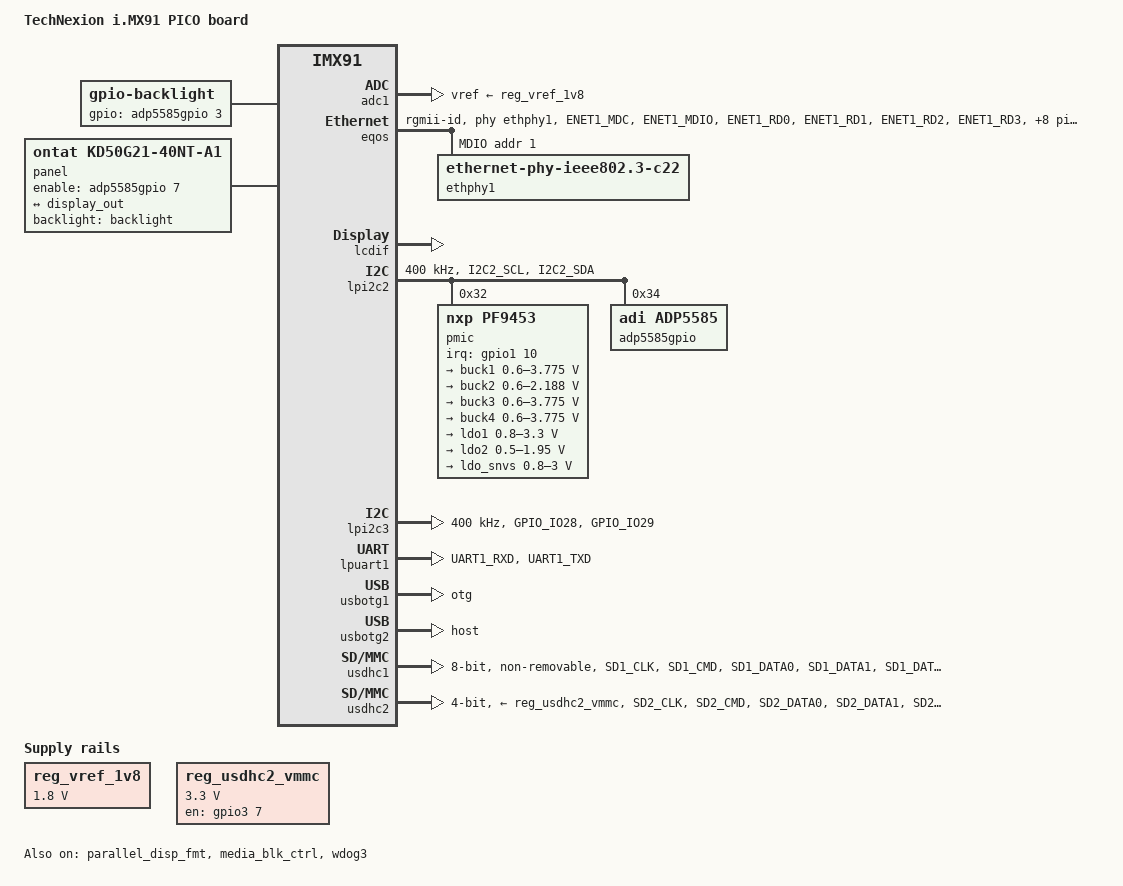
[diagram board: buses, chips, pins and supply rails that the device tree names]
// SPDX-License-Identifier: (GPL-2.0+ OR MIT)
/*
 * Copyright 2024 NXP
 */

/dts-v1/;

#include <dt-bindings/usb/pd.h>
#include "imx91.dtsi"
#include "imx91-u-boot.dtsi"

/ {
	model = "TechNexion i.MX91 PICO board";
	compatible = "fsl,imx91-pico", "fsl,imx91";

	chosen {
		stdout-path = &lpuart1;
	};

	reserved-memory {
		#address-cells = <2>;
		#size-cells = <2>;
		ranges;

		linux,cma {
			compatible = "shared-dma-pool";
			reusable;
			alloc-ranges = <0 0x80000000 0 0x40000000>;
			size = <0 0x10000000>;
			linux,cma-default;
		};
	};

	reg_vref_1v8: regulator-adc-vref {
		compatible = "regulator-fixed";
		regulator-name = "vref_1v8";
		regulator-min-microvolt = <1800000>;
		regulator-max-microvolt = <1800000>;
	};

	reg_usdhc2_vmmc: regulator-usdhc2 {
		compatible = "regulator-fixed";
		pinctrl-names = "default";
		pinctrl-0 = <&pinctrl_reg_usdhc2_vmmc>;
		regulator-name = "VSD_3V3";
		regulator-min-microvolt = <3300000>;
		regulator-max-microvolt = <3300000>;
		gpio = <&gpio3 7 GPIO_ACTIVE_HIGH>;
		off-on-delay-us = <12000>;
		enable-active-high;
	};

	backlight: backlight {
		compatible = "gpio-backlight";
		gpios = <&adp5585gpio 3 GPIO_ACTIVE_HIGH>;
	};

	panel {
		compatible = "ontat,kd50g21-40nt-a1", "simple-panel";
		backlight = <&backlight>;
		enable-gpios = <&adp5585gpio 7 GPIO_ACTIVE_HIGH>;


		port {
			panel_in: endpoint {
				remote-endpoint = <&display_out>;
			};
		};

		display-timings {
			native-mode = <&timing0>;
			timing0: timing0 {
				clock-frequency = <33333333>;
				hactive = <800>;
				vactive = <480>;
				hfront-porch = <210>;
				hback-porch = <46>;
				hsync-len = <20>;
				vback-porch = <22>;
				vfront-porch = <23>;
				vsync-len = <10>;

				vsync-active = <0>;
				hsync-active = <0>;
			};
		};
	};
};

&adc1 {
	vref-supply = <&reg_vref_1v8>;
	status = "okay";
};

&eqos {
	pinctrl-names = "default";
	pinctrl-0 = <&pinctrl_eqos>;
	phy-mode = "rgmii-id";
	phy-handle = <&ethphy1>;
	status = "okay";

	mdio {
		compatible = "snps,dwmac-mdio";
		#address-cells = <1>;
		#size-cells = <0>;
		clock-frequency = <5000000>;

		ethphy1: ethernet-phy@1 {
			compatible = "ethernet-phy-ieee802.3-c22";
			reg = <1>;
			eee-broken-1000t;
		};
	};
};

&lcdif {
	status = "okay";
	assigned-clock-rates = <150000000>, <30000000>, <400000000>, <133333333>;
};

&parallel_disp_fmt {
	pinctrl-names = "default";
	pinctrl-0 = <&pinctrl_lcdif>;
    pinctrl-1 = <&pinctrl_lcdif_gpio>;
	fsl,interface-pix-fmt = "rgb888";
	status = "okay";

	ports {
		port@1 {
			reg = <1>;

			display_out: endpoint {
				remote-endpoint = <&panel_in>;
			};
		};
	};
};

&lpi2c2 {
	#address-cells = <1>;
	#size-cells = <0>;
	clock-frequency = <400000>;
	pinctrl-names = "default", "sleep";
	pinctrl-0 = <&pinctrl_lpi2c2>;
	pinctrl-1 = <&pinctrl_lpi2c2>;
	status = "okay";

	pmic@32 {
		compatible = "nxp,pf9453";
		reg = <0x32>;
		pinctrl-names = "default";
		pinctrl-0 = <&pinctrl_pmic_irq>;
		interrupt-parent = <&gpio1>;
		interrupts = <10 IRQ_TYPE_LEVEL_LOW>;

		regulators {
			buck1: BUCK1 {
				regulator-name = "BUCK1";
				regulator-min-microvolt = <600000>;
				regulator-max-microvolt = <3775000>;
				regulator-boot-on;
				regulator-always-on;
			};

			buck2: BUCK2 {
				regulator-name = "BUCK2";
				regulator-min-microvolt = <600000>;
				regulator-max-microvolt = <2187500>;
				regulator-boot-on;
				regulator-always-on;
				regulator-ramp-delay = <3125>;
			};

			buck3: BUCK3 {
				regulator-name = "BUCK3";
				regulator-min-microvolt = <600000>;
				regulator-max-microvolt = <3775000>;
				regulator-boot-on;
				regulator-always-on;
			};

			buck4: BUCK4 {
				regulator-name = "BUCK4";
				regulator-min-microvolt = <600000>;
				regulator-max-microvolt = <3775000>;
				regulator-boot-on;
				regulator-always-on;
			};

			ldo1: LDO1 {
				regulator-name = "LDO1";
				regulator-min-microvolt = <800000>;
				regulator-max-microvolt = <3300000>;
				regulator-boot-on;
				regulator-always-on;
			};

			ldo2: LDO2 {
				regulator-name = "LDO2";
				regulator-min-microvolt = <500000>;
				regulator-max-microvolt = <1950000>;
				regulator-boot-on;
				regulator-always-on;
			};

			ldo_snvs: LDO_SNVS {
				regulator-name = "LDO_SNVS";
				regulator-min-microvolt = <800000>;
				regulator-max-microvolt = <3000000>;
				regulator-boot-on;
				regulator-always-on;
			};
		};
	};

    adp5585gpio: gpio@34 {
		compatible = "adi,adp5585";
		reg = <0x34>;
		gpio-controller;
		#gpio-cells = <2>;

		wl_reg_on {
			gpio = <&adp5585gpio 5 0>;
		};

		bt_reg_on {
			gpio = <&adp5585gpio 6 0>;
		};
	};
};

&lpi2c3 {
	#address-cells = <1>;
	#size-cells = <0>;
	clock-frequency = <400000>;
	pinctrl-names = "default", "sleep";
	pinctrl-0 = <&pinctrl_lpi2c3>;
	pinctrl-1 = <&pinctrl_lpi2c3>;
	status = "okay";
};

&lpuart1 { /* console */
	pinctrl-names = "default";
	pinctrl-0 = <&pinctrl_uart1>;
	status = "okay";
};

&media_blk_ctrl {
	status = "okay";
};

&usbotg1 {
	dr_mode = "otg";
	hnp-disable;
	srp-disable;
	adp-disable;
	usb-role-switch;
	status = "okay";
};

&usbotg2 {
	dr_mode = "host";
	status = "okay";
};

&usdhc1 {
	pinctrl-names = "default", "state_100mhz", "state_200mhz";
	pinctrl-0 = <&pinctrl_usdhc1>;
	pinctrl-1 = <&pinctrl_usdhc1_100mhz>;
	pinctrl-2 = <&pinctrl_usdhc1_200mhz>;
	bus-width = <8>;
	non-removable;
	status = "okay";
};

&usdhc2 {
	pinctrl-names = "default", "state_100mhz", "state_200mhz";
	pinctrl-0 = <&pinctrl_usdhc2>, <&pinctrl_usdhc2_gpio>;
	pinctrl-1 = <&pinctrl_usdhc2_100mhz>, <&pinctrl_usdhc2_gpio>;
	pinctrl-2 = <&pinctrl_usdhc2_200mhz>, <&pinctrl_usdhc2_gpio>;
	cd-gpios = <&gpio3 00 GPIO_ACTIVE_LOW>;
	vmmc-supply = <&reg_usdhc2_vmmc>;
	bus-width = <4>;
	status = "okay";
	no-sdio;
	no-mmc;
};

&usdhc3 {
	status = "disabled";
};

&wdog3 {
	status = "okay";
};

&iomuxc {
    pinctrl_eqos: eqosgrp {
		fsl,pins = <
			MX91_PAD_ENET1_MDC__ENET1_MDC				0x57e
			MX91_PAD_ENET1_MDIO__ENET_QOS_MDIO			0x57e
			MX91_PAD_ENET1_RD0__ENET_QOS_RGMII_RD0			0x57e
			MX91_PAD_ENET1_RD1__ENET_QOS_RGMII_RD1			0x57e
			MX91_PAD_ENET1_RD2__ENET_QOS_RGMII_RD2			0x57e
			MX91_PAD_ENET1_RD3__ENET_QOS_RGMII_RD3			0x57e
			MX91_PAD_ENET1_RXC__ENET_QOS_RGMII_RXC			0x5fe
			MX91_PAD_ENET1_RX_CTL__ENET_QOS_RGMII_RX_CTL		0x57e
			MX91_PAD_ENET1_TD0__ENET_QOS_RGMII_TD0			0x57e
			MX91_PAD_ENET1_TD1__ENET1_RGMII_TD1			0x57e
			MX91_PAD_ENET1_TD2__ENET_QOS_RGMII_TD2			0x57e
			MX91_PAD_ENET1_TD3__ENET_QOS_RGMII_TD3			0x57e
			MX91_PAD_ENET1_TXC__CCM_ENET_QOS_CLOCK_GENERATE_TX_CLK	0x5fe
			MX91_PAD_ENET1_TX_CTL__ENET_QOS_RGMII_TX_CTL		0x57e
		>;
	};

    pinctrl_lcdif: lcdifgrp {
		fsl,pins = <
			MX91_PAD_GPIO_IO00__MEDIAMIX_DISP_CLK		0x31e
			MX91_PAD_GPIO_IO01__MEDIAMIX_DISP_DE		0x31e
			MX91_PAD_GPIO_IO02__MEDIAMIX_DISP_VSYNC		0x31e
			MX91_PAD_GPIO_IO03__MEDIAMIX_DISP_HSYNC		0x31e
			MX91_PAD_GPIO_IO04__MEDIAMIX_DISP_DATA0		0x31e
			MX91_PAD_GPIO_IO05__MEDIAMIX_DISP_DATA1		0x31e
			MX91_PAD_GPIO_IO06__MEDIAMIX_DISP_DATA2		0x31e
			MX91_PAD_GPIO_IO07__MEDIAMIX_DISP_DATA3		0x31e
			MX91_PAD_GPIO_IO08__MEDIAMIX_DISP_DATA4		0x31e
			MX91_PAD_GPIO_IO09__MEDIAMIX_DISP_DATA5		0x31e
			MX91_PAD_GPIO_IO10__MEDIAMIX_DISP_DATA6		0x31e
			MX91_PAD_GPIO_IO11__MEDIAMIX_DISP_DATA7		0x31e
			MX91_PAD_GPIO_IO12__MEDIAMIX_DISP_DATA8		0x31e
			MX91_PAD_GPIO_IO13__MEDIAMIX_DISP_DATA9		0x31e
			MX91_PAD_GPIO_IO14__MEDIAMIX_DISP_DATA10	0x31e
			MX91_PAD_GPIO_IO15__MEDIAMIX_DISP_DATA11	0x31e
			MX91_PAD_GPIO_IO16__MEDIAMIX_DISP_DATA12	0x31e
			MX91_PAD_GPIO_IO17__MEDIAMIX_DISP_DATA13	0x31e
			MX91_PAD_GPIO_IO18__MEDIAMIX_DISP_DATA14	0x31e
			MX91_PAD_GPIO_IO19__MEDIAMIX_DISP_DATA15	0x31e
			MX91_PAD_GPIO_IO20__MEDIAMIX_DISP_DATA16	0x31e
			MX91_PAD_GPIO_IO21__MEDIAMIX_DISP_DATA17	0x31e
			MX91_PAD_GPIO_IO22__MEDIAMIX_DISP_DATA18	0x31e
			MX91_PAD_GPIO_IO23__MEDIAMIX_DISP_DATA19	0x31e
			MX91_PAD_GPIO_IO24__MEDIAMIX_DISP_DATA20	0x31e
			MX91_PAD_GPIO_IO25__MEDIAMIX_DISP_DATA21	0x31e
			MX91_PAD_GPIO_IO26__MEDIAMIX_DISP_DATA22	0x31e
			MX91_PAD_GPIO_IO27__MEDIAMIX_DISP_DATA23	0x31e
		>;
	};

	pinctrl_lcdif_gpio: lcdifgpiogrp {
		fsl,pins = <
			MX91_PAD_GPIO_IO00__GPIO2_IO0			0x31e
			MX91_PAD_GPIO_IO01__GPIO2_IO1			0x31e
			MX91_PAD_GPIO_IO02__GPIO2_IO2			0x31e
			MX91_PAD_GPIO_IO03__GPIO2_IO3			0x31e
		>;
	};

    pinctrl_lpi2c2: lpi2c2grp {
		fsl,pins = <
			MX91_PAD_I2C2_SCL__LPI2C2_SCL			0x40000b9e
			MX91_PAD_I2C2_SDA__LPI2C2_SDA			0x40000b9e
		>;
	};

	pinctrl_lpi2c3: lpi2c3grp {
		fsl,pins = <
			MX91_PAD_GPIO_IO28__LPI2C3_SDA			0x40000b9e
			MX91_PAD_GPIO_IO29__LPI2C3_SCL			0x40000b9e
		>;
	};

    pinctrl_pmic_irq: pmicirqgrp {
		fsl,pins = <
			MX91_PAD_PDM_BIT_STREAM1__GPIO1_IO10	0x31e
		>;
	};

    pinctrl_uart1: uart1grp {
		fsl,pins = <
			MX91_PAD_UART1_RXD__LPUART1_RX			0x31e
			MX91_PAD_UART1_TXD__LPUART1_TX			0x31e
		>;
	};

    pinctrl_usdhc1: usdhc1grp {
		fsl,pins = <
			MX91_PAD_SD1_CLK__USDHC1_CLK		0x1582
			MX91_PAD_SD1_CMD__USDHC1_CMD		0x40001382
			MX91_PAD_SD1_DATA0__USDHC1_DATA0	0x40001382
			MX91_PAD_SD1_DATA1__USDHC1_DATA1	0x40001382
			MX91_PAD_SD1_DATA2__USDHC1_DATA2	0x40001382
			MX91_PAD_SD1_DATA3__USDHC1_DATA3	0x40001382
			MX91_PAD_SD1_DATA4__USDHC1_DATA4	0x40001382
			MX91_PAD_SD1_DATA5__USDHC1_DATA5	0x40001382
			MX91_PAD_SD1_DATA6__USDHC1_DATA6	0x40001382
			MX91_PAD_SD1_DATA7__USDHC1_DATA7	0x40001382
			MX91_PAD_SD1_STROBE__USDHC1_STROBE	0x1582
		>;
	};

    pinctrl_usdhc1_100mhz: usdhc1-100mhzgrp {
		fsl,pins = <
			MX91_PAD_SD1_CLK__USDHC1_CLK		0x158e
			MX91_PAD_SD1_CMD__USDHC1_CMD		0x4000138e
			MX91_PAD_SD1_DATA0__USDHC1_DATA0	0x4000138e
			MX91_PAD_SD1_DATA1__USDHC1_DATA1	0x4000138e
			MX91_PAD_SD1_DATA2__USDHC1_DATA2	0x4000138e
			MX91_PAD_SD1_DATA3__USDHC1_DATA3	0x4000138e
			MX91_PAD_SD1_DATA4__USDHC1_DATA4	0x4000138e
			MX91_PAD_SD1_DATA5__USDHC1_DATA5	0x4000138e
			MX91_PAD_SD1_DATA6__USDHC1_DATA6	0x4000138e
			MX91_PAD_SD1_DATA7__USDHC1_DATA7	0x4000138e
			MX91_PAD_SD1_STROBE__USDHC1_STROBE	0x158e
		>;
	};

    pinctrl_usdhc1_200mhz: usdhc1-200mhzgrp {
		fsl,pins = <
			MX91_PAD_SD1_CLK__USDHC1_CLK		0x15fe
			MX91_PAD_SD1_CMD__USDHC1_CMD		0x400013fe
			MX91_PAD_SD1_DATA0__USDHC1_DATA0	0x400013fe
			MX91_PAD_SD1_DATA1__USDHC1_DATA1	0x400013fe
			MX91_PAD_SD1_DATA2__USDHC1_DATA2	0x400013fe
			MX91_PAD_SD1_DATA3__USDHC1_DATA3	0x400013fe
			MX91_PAD_SD1_DATA4__USDHC1_DATA4	0x400013fe
			MX91_PAD_SD1_DATA5__USDHC1_DATA5	0x400013fe
			MX91_PAD_SD1_DATA6__USDHC1_DATA6	0x400013fe
			MX91_PAD_SD1_DATA7__USDHC1_DATA7	0x400013fe
			MX91_PAD_SD1_STROBE__USDHC1_STROBE	0x15fe
		>;
	};

	pinctrl_reg_usdhc2_vmmc: regusdhc2vmmcgrp {
		fsl,pins = <
			MX91_PAD_SD2_RESET_B__GPIO3_IO7		0x31e
		>;
	};

	pinctrl_usdhc2_gpio: usdhc2gpiogrp {
		fsl,pins = <
			MX91_PAD_SD2_CD_B__GPIO3_IO0		0x31e
		>;
	};

	pinctrl_usdhc2_gpio_sleep: usdhc2gpiogrpsleep {
		fsl,pins = <
			MX91_PAD_SD2_CD_B__GPIO3_IO0		0x51e
		>;
	};

	/* need to config the SION for data and cmd pad, refer to ERR052021 */
	pinctrl_usdhc2: usdhc2grp {
		fsl,pins = <
			MX91_PAD_SD2_CLK__USDHC2_CLK		0x1582
			MX91_PAD_SD2_CMD__USDHC2_CMD		0x40001382
			MX91_PAD_SD2_DATA0__USDHC2_DATA0	0x40001382
			MX91_PAD_SD2_DATA1__USDHC2_DATA1	0x40001382
			MX91_PAD_SD2_DATA2__USDHC2_DATA2	0x40001382
			MX91_PAD_SD2_DATA3__USDHC2_DATA3	0x40001382
			MX91_PAD_SD2_VSELECT__USDHC2_VSELECT	0x51e
		>;
	};

	/* need to config the SION for data and cmd pad, refer to ERR052021 */
	pinctrl_usdhc2_100mhz: usdhc2-100mhzgrp {
		fsl,pins = <
			MX91_PAD_SD2_CLK__USDHC2_CLK		0x158e
			MX91_PAD_SD2_CMD__USDHC2_CMD		0x4000138e
			MX91_PAD_SD2_DATA0__USDHC2_DATA0	0x4000138e
			MX91_PAD_SD2_DATA1__USDHC2_DATA1	0x4000138e
			MX91_PAD_SD2_DATA2__USDHC2_DATA2	0x4000138e
			MX91_PAD_SD2_DATA3__USDHC2_DATA3	0x4000138e
			MX91_PAD_SD2_VSELECT__USDHC2_VSELECT	0x51e
		>;
	};

	/* need to config the SION for data and cmd pad, refer to ERR052021 */
	pinctrl_usdhc2_200mhz: usdhc2-200mhzgrp {
		fsl,pins = <
			MX91_PAD_SD2_CLK__USDHC2_CLK		0x15fe
			MX91_PAD_SD2_CMD__USDHC2_CMD		0x400013fe
			MX91_PAD_SD2_DATA0__USDHC2_DATA0	0x400013fe
			MX91_PAD_SD2_DATA1__USDHC2_DATA1	0x400013fe
			MX91_PAD_SD2_DATA2__USDHC2_DATA2	0x400013fe
			MX91_PAD_SD2_DATA3__USDHC2_DATA3	0x400013fe
			MX91_PAD_SD2_VSELECT__USDHC2_VSELECT	0x51e
		>;
	};
};
